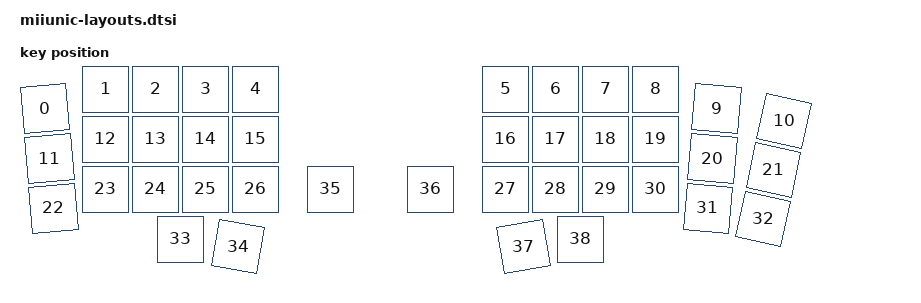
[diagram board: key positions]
#include <physical_layouts.dtsi>

/ {
    physical_layout_miiunic: physical_layout_miiunic {
        compatible = "zmk,physical-layout";
        display-name = "miiUnic";
        keys  //                     w   h    x    y     rot    rx    ry
            = <&key_physical_attrs 100 100(-80)   60 (-1200)     0     0>
            , <&key_physical_attrs 100 100   70   50  (-500)     0     0>
            , <&key_physical_attrs 100 100  200    0       0     0     0>
            , <&key_physical_attrs 100 100  300    0       0     0     0>
            , <&key_physical_attrs 100 100  400    0       0     0     0>
            , <&key_physical_attrs 100 100  500    0       0     0     0>
            , <&key_physical_attrs 100 100 1000    0       0     0     0>
            , <&key_physical_attrs 100 100 1100    0       0     0     0>
            , <&key_physical_attrs 100 100 1200    0       0     0     0>
            , <&key_physical_attrs 100 100 1300    0       0     0     0>
            , <&key_physical_attrs 100 100 1430   50     500  1600     0>
            , <&key_physical_attrs 100 100 1580   60    1200  1600     0>
            , <&key_physical_attrs 100 100(-80)  160 (-1200)     0     0>
            , <&key_physical_attrs 100 100   70  150  (-500)     0     0>
            , <&key_physical_attrs 100 100  200  100       0     0     0>
            , <&key_physical_attrs 100 100  300  100       0     0     0>
            , <&key_physical_attrs 100 100  400  100       0     0     0>
            , <&key_physical_attrs 100 100  500  100       0     0     0>
            , <&key_physical_attrs 100 100 1000  100       0     0     0>
            , <&key_physical_attrs 100 100 1100  100       0     0     0>
            , <&key_physical_attrs 100 100 1200  100       0     0     0>
            , <&key_physical_attrs 100 100 1300  100       0     0     0>
            , <&key_physical_attrs 100 100 1430  150     500  1600     0>
            , <&key_physical_attrs 100 100 1580  160    1200  1600     0>
            , <&key_physical_attrs 100 100(-80)  260 (-1200)     0     0>
            , <&key_physical_attrs 100 100   70  250  (-500)     0     0>
            , <&key_physical_attrs 100 100  200  200       0     0     0>
            , <&key_physical_attrs 100 100  300  200       0     0     0>
            , <&key_physical_attrs 100 100  400  200       0     0     0>
            , <&key_physical_attrs 100 100  500  200       0     0     0>
            , <&key_physical_attrs 100 100 1000  200       0     0     0>
            , <&key_physical_attrs 100 100 1100  200       0     0     0>
            , <&key_physical_attrs 100 100 1200  200       0     0     0>
            , <&key_physical_attrs 100 100 1300  200       0     0     0>
            , <&key_physical_attrs 100 100 1430  250     500  1600     0>
            , <&key_physical_attrs 100 100 1580  260    1200  1600     0>
            , <&key_physical_attrs 100 100  350  300       0     0     0>
            , <&key_physical_attrs 100 100  520  220    1000     0     0>
            , <&key_physical_attrs 100 150  700(-60)    3000     0     0>
            , <&key_physical_attrs 100 100  650  200       0     0     0>
            , <&key_physical_attrs 100 100  850  200       0     0     0>
            , <&key_physical_attrs 100 150  800(-60) (-3000)  1600     0>
            , <&key_physical_attrs 100 100  980  220 (-1000)  1600     0>
            , <&key_physical_attrs 100 100 1150  300       0     0     0>
            ;
    };
};
